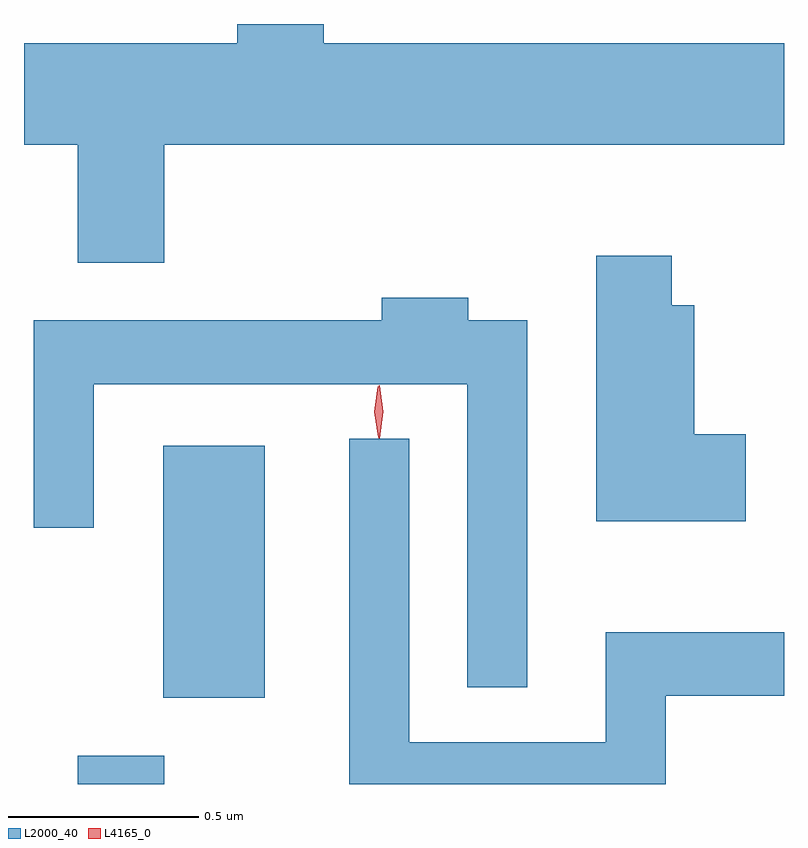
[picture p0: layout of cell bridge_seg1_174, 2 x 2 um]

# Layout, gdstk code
import gdstk
lib = gdstk.Library(unit=1e-6, precision=1e-09)
def R(c, l, rs):  # rectangles x0, y0, x1, y1
    for r in rs: c.add(gdstk.rectangle(r[:2], r[2:], *l))
def P(c, l, *ps):  # polygons
    for p in ps: c.add(gdstk.Polygon(p, *l))
L2000_40 = (2000, 40)
L4165_0 = (4165, 0)

bridge_seg1_174 = lib.new_cell('bridge_seg1_174')
R(bridge_seg1_174, L2000_40, [(799.271,960.054,799.499,960.129), (799.496,960.281,799.764,960.944)])
P(bridge_seg1_174, L2000_40, [(799.499,961.736),(801.13,961.736),(801.13,962.004),(799.919,962.004),(799.919,962.054),(799.691,962.054),(799.691,962.004),(799.13,962.004),(799.13,961.736),(799.271,961.736),(799.271,961.426),(799.499,961.426)],
  [(801.029,960.974),(800.894,960.974),(800.894,961.314),(800.834,961.314),(800.834,961.444),(800.636,961.444),(800.636,960.746),(801.029,960.746)],
  [(800.454,961.274),(800.299,961.274),(800.299,961.334),(800.071,961.334),(800.071,961.274),(799.156,961.274),(799.156,960.728),(799.314,960.728),(799.314,961.106),(800.296,961.106),(800.296,960.308),(800.454,960.308)],
  [(800.819,960.286),(801.13,960.286),(801.13,960.454),(800.661,960.454),(800.661,960.164),(800.144,960.164),(800.144,960.963),(799.986,960.963),(799.986,960.054),(800.819,960.054)])
P(bridge_seg1_174, L4165_0, [(800.062,960.967),(800.062,960.967),(800.052,961.034),(800.061,961.1),(800.062,961.1),(800.062,961.1),(800.072,961.034),(800.063,960.967)],
  [(800.064,960.964),(800.055,961.033),(800.064,961.102),(800.065,961.103),(800.066,961.102),(800.075,961.033),(800.066,960.964),(800.065,960.964)])

lib.write_gds('bridge_seg1_174.gds')
